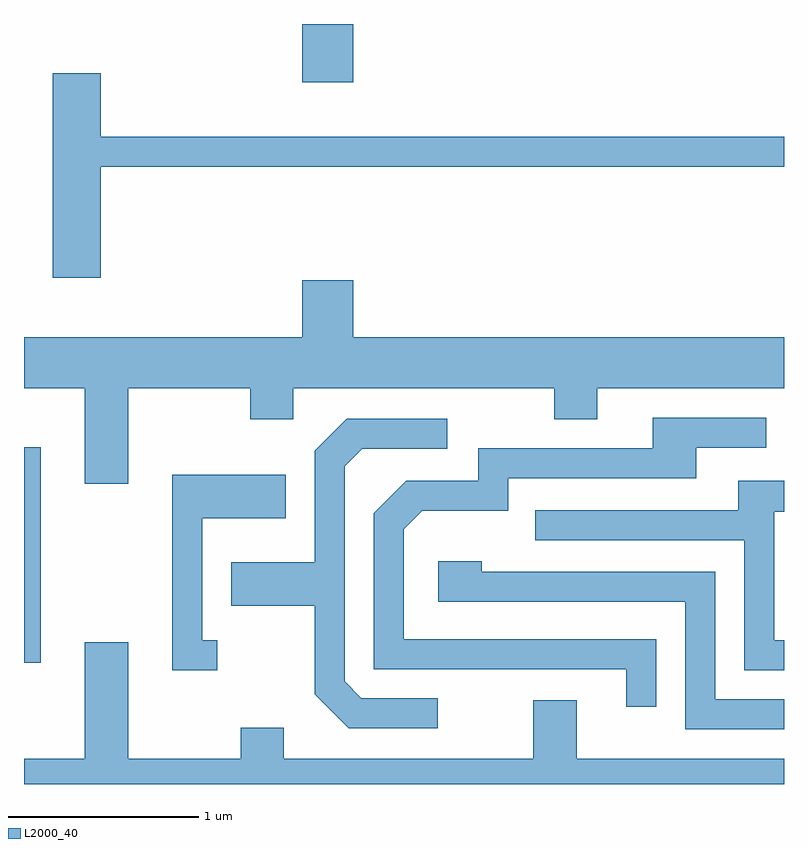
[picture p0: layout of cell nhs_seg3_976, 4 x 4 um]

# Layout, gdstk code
import gdstk
lib = gdstk.Library(unit=1e-6, precision=1e-09)
def R(c, l, rs):  # rectangles x0, y0, x1, y1
    for r in rs: c.add(gdstk.rectangle(r[:2], r[2:], *l))
def P(c, l, *ps):  # polygons
    for p in ps: c.add(gdstk.Polygon(p, *l))
L2000_40 = (2000, 40)

nhs_seg3_976 = lib.new_cell('nhs_seg3_976')
R(nhs_seg3_976, L2000_40, [(213.611,1164.531,213.699,1165.664), (215.076,1167.586,215.344,1167.892)])
P(nhs_seg3_976, L2000_40, [(214.014,1167.141),(217.611,1167.141),(217.611,1167.299),(214.014,1167.299),(214.014,1167.634),(213.761,1167.634),(213.761,1166.556),(214.014,1166.556)],
  [(214.159,1165.976),(214.801,1165.976),(214.801,1165.811),(215.029,1165.811),(215.029,1165.976),(216.401,1165.976),(216.401,1165.811),(216.629,1165.811),(216.629,1165.976),(217.611,1165.976),(217.611,1166.244),(215.344,1166.244),(215.344,1166.544),(215.076,1166.544),(215.076,1166.244),(213.611,1166.244),(213.611,1165.976),(213.931,1165.976),(213.931,1165.471),(214.159,1165.471)],
  [(216.939,1164.654),(215.609,1164.654),(215.609,1165.234),(215.707,1165.331),(216.159,1165.331),(216.159,1165.501),(217.149,1165.501),(217.149,1165.661),(217.518,1165.661),(217.518,1165.819),(216.921,1165.819),(216.921,1165.659),(216.001,1165.659),(216.001,1165.489),(215.624,1165.489),(215.451,1165.317),(215.451,1164.496),(216.781,1164.496),(216.781,1164.298),(216.939,1164.298)],
  [(215.788,1164.344),(215.387,1164.344),(215.299,1164.432),(215.299,1165.564),(215.392,1165.656),(215.838,1165.656),(215.838,1165.814),(215.309,1165.814),(215.141,1165.647),(215.141,1165.059),(214.701,1165.059),(214.701,1164.831),(215.141,1164.831),(215.141,1164.364),(215.319,1164.186),(215.788,1164.186)],
  [(214.628,1164.649),(214.549,1164.649),(214.549,1165.291),(214.989,1165.291),(214.989,1165.519),(214.391,1165.519),(214.391,1164.491),(214.628,1164.491)],
  [(217.611,1164.649),(217.559,1164.649),(217.559,1165.326),(217.611,1165.326),(217.611,1165.489),(217.371,1165.489),(217.371,1165.334),(216.303,1165.334),(216.303,1165.176),(217.401,1165.176),(217.401,1164.491),(217.611,1164.491)],
  [(217.611,1164.339),(217.249,1164.339),(217.249,1165.009),(216.019,1165.009),(216.019,1165.064),(215.791,1165.064),(215.791,1164.851),(217.091,1164.851),(217.091,1164.181),(217.611,1164.181)],
  [(217.611,1164.024),(216.519,1164.024),(216.519,1164.334),(216.291,1164.334),(216.291,1164.024),(214.979,1164.024),(214.979,1164.189),(214.751,1164.189),(214.751,1164.024),(214.159,1164.024),(214.159,1164.639),(213.931,1164.639),(213.931,1164.024),(213.611,1164.024),(213.611,1163.892),(217.611,1163.892)])

lib.write_gds('nhs_seg3_976.gds')
